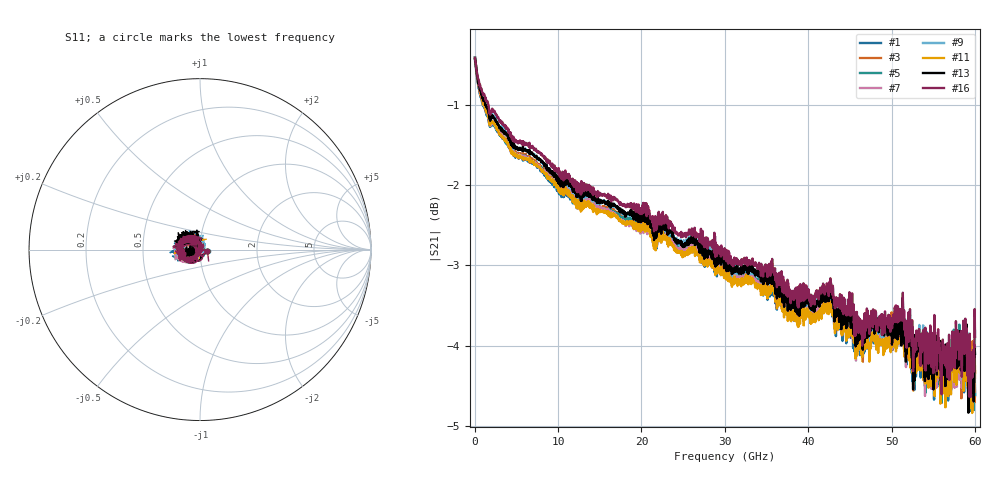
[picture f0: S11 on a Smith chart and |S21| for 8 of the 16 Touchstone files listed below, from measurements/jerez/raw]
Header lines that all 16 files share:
! File created by 'SoftPlot +Plus+ Measurement Management Software'
! SoftPlot +Plus+ Measurement Management Software
! Start 40.000000 MHz  Stop 60.000000 GHz  Points 1601
# MHZ S RI R 50
! S-Parameter data, F S11 S21 S12 S22
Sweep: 40 MHz to 60 GHz
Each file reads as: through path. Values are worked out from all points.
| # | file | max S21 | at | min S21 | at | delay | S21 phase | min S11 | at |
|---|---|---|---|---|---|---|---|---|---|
| 1 | 0_NO_ALD.s2p | -0.44 dB | 40 MHz | -4.8 dB | 59.55 GHz | 60 ps | 66 deg at 30.02 GHz | -50.0 dB | 58.28 GHz |
| 2 | 1_ALD.s2p | -0.43 dB | 40 MHz | -4.8 dB | 59.66 GHz | 60 ps | 65 deg at 30.02 GHz | -30.9 dB | 59.18 GHz |
| 3 | 1_NO_ALD.s2p | -0.41 dB | 40 MHz | -4.7 dB | 55.99 GHz | 59.5 ps | 71 deg at 30.02 GHz | -49.8 dB | 51.53 GHz |
| 4 | 2_ALD.s2p | -0.41 dB | 40 MHz | -4.9 dB | 59.85 GHz | 60 ps | 65 deg at 30.02 GHz | -39.8 dB | 59.51 GHz |
| 5 | 2_NO_ALD.s2p | -0.41 dB | 40 MHz | -4.8 dB | 59.66 GHz | 59.5 ps | 70 deg at 30.02 GHz | -47.8 dB | 51.42 GHz |
| 6 | 3_ALD.s2p | -0.42 dB | 40 MHz | -4.9 dB | 59.4 GHz | 59.9 ps | 66 deg at 30.02 GHz | -43.0 dB | 50.86 GHz |
| 7 | 3_NO_ALD.s2p | -0.43 dB | 40 MHz | -4.8 dB | 59.66 GHz | 59.4 ps | 70 deg at 30.02 GHz | -56.7 dB | 51.61 GHz |
| 8 | 7_ALD.s2p | -0.43 dB | 40 MHz | -4.8 dB | 59.66 GHz | 60 ps | 65 deg at 30.02 GHz | -48.8 dB | 59.78 GHz |
| 9 | 7_NO_ALD.s2p | -0.41 dB | 40 MHz | -4.6 dB | 57.11 GHz | 59.6 ps | 70 deg at 30.02 GHz | -53.7 dB | 59.89 GHz |
| 10 | 9_ALD.s2p | -0.41 dB | 40 MHz | -5.0 dB | 59.85 GHz | 60.1 ps | 64 deg at 30.02 GHz | -44.2 dB | 50.78 GHz |
| 11 | 9_NO_ALD.s2p | -0.43 dB | 40 MHz | -4.8 dB | 59.66 GHz | 59.5 ps | 70 deg at 30.02 GHz | -52.6 dB | 59.51 GHz |
| 12 | 10_NO_ALD.s2p | -0.42 dB | 40 MHz | -4.9 dB | 59.59 GHz | 59.6 ps | 70 deg at 30.02 GHz | -50.5 dB | 51.08 GHz |
| 13 | 11_ALD.s2p | -0.42 dB | 40 MHz | -4.8 dB | 59.21 GHz | 59.9 ps | 66 deg at 30.02 GHz | -38.7 dB | 59.14 GHz |
| 14 | 11_NO_ALD.s2p | -0.41 dB | 40 MHz | -4.7 dB | 59.63 GHz | 59.4 ps | 72 deg at 30.02 GHz | -51.1 dB | 59.06 GHz |
| 15 | 12_ALD.s2p | -0.43 dB | 40 MHz | -4.7 dB | 59.89 GHz | 59.6 ps | 68 deg at 30.02 GHz | -52.2 dB | 50.97 GHz |
| 16 | 12_NO_ALD.s2p | -0.41 dB | 40 MHz | -4.6 dB | 59.48 GHz | 59.3 ps | 73 deg at 30.02 GHz | -53.2 dB | 42.65 GHz |
